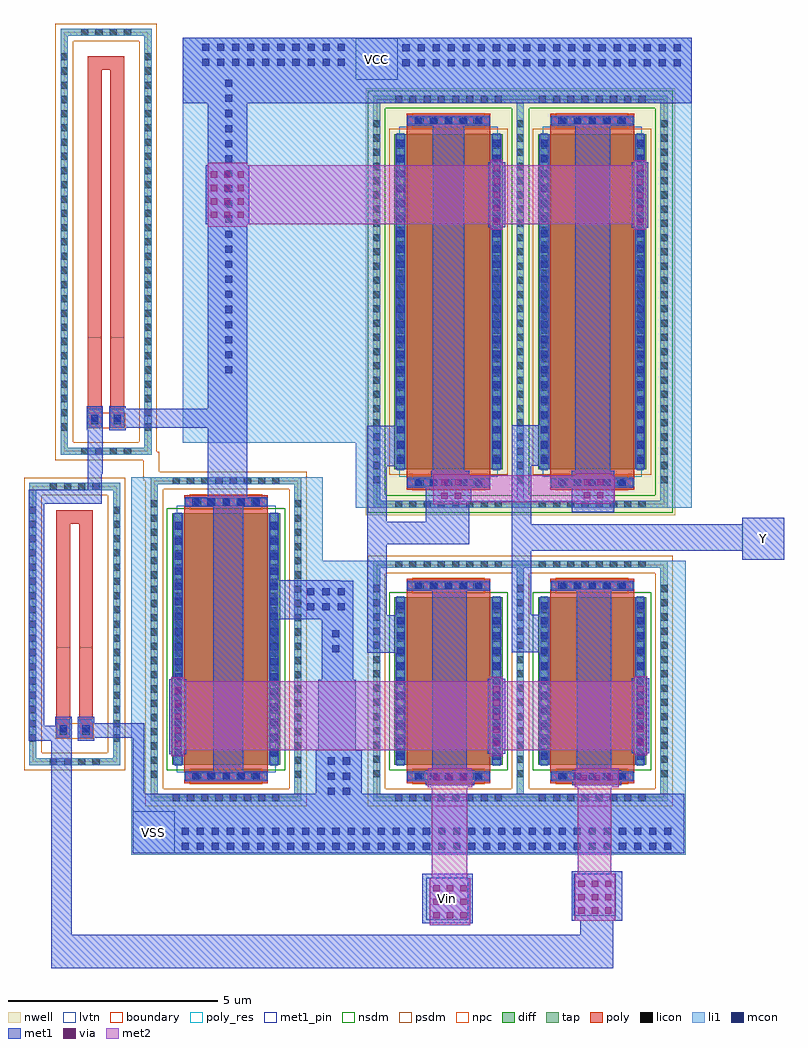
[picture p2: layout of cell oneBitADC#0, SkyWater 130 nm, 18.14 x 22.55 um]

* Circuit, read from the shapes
.subckt oneBitADC#0 VCC VSS Vin Y
XM1 VSS VCC n1 VSS sky130_fd_pr__nfet_01v8_lvt w=6 l=2
XM2 n1 Vin n2 VSS sky130_fd_pr__nfet_01v8 w=4 l=2
XM3 n1 OpAmp5T_0/Vminus Y VSS sky130_fd_pr__nfet_01v8 w=4 l=2
XM4 VCC n2 n2 VCC sky130_fd_pr__pfet_01v8_lvt w=8 l=2
XM5 VCC n2 Y VCC sky130_fd_pr__pfet_01v8_lvt w=8 l=2
R6 OpAmp5T_0/Vminus VSS sky130_fd_pr__res_generic_po w=0.33 l=6.79
R7 OpAmp5T_0/Vminus VCC sky130_fd_pr__res_generic_po w=0.33 l=13.65
.ends

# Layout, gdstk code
import gdstk
lib = gdstk.Library(unit=1e-6, precision=1e-09)
def R(c, l, rs):  # rectangles x0, y0, x1, y1
    for r in rs: c.add(gdstk.rectangle(r[:2], r[2:], *l))
def A(c, l, x, y, w, h, nx, ny, dx, dy):  # array of equal rectangles
    R(c, l, [(x+i*dx, y+j*dy, x+i*dx+w, y+j*dy+h) for i in range(nx) for j in range(ny)])
nwell = (64, 20)
diff = (65, 20)
tap = (65, 44)
poly_res = (66, 13)
poly = (66, 20)
licon = (66, 44)
li1 = (67, 20)
mcon = (67, 44)
met1_pin = (68, 16)
met1 = (68, 20)
via = (68, 44)
met2 = (69, 20)
nsdm = (93, 44)
psdm = (94, 20)
npc = (95, 20)
lvtn = (125, 44)
boundary = (235, 4)

sky130_fd_pr__nfet_01v8_ = lib.new_cell('sky130_fd_pr__nfet_01v8_AHRV9L')
R(sky130_fd_pr__nfet_01v8_, diff, [(-1.29,-2,1.29,2)])
R(sky130_fd_pr__nfet_01v8_, tap, [(-1.8,-2.87,1.8,-2.7), (-1.8,-2.7,-1.63,2.7), (1.63,-2.7,1.8,2.7), (-1.8,2.7,1.8,2.87)])
R(sky130_fd_pr__nfet_01v8_, poly, [(-1,-2.44,1,2.44)])
A(sky130_fd_pr__nfet_01v8_, licon, -1.275, -2.87, 0.17, 0.17, 8, 2, 0.34, 5.57)
A(sky130_fd_pr__nfet_01v8_, licon, -0.765, -2.36, 0.17, 0.17, 5, 2, 0.34, 4.55)
A(sky130_fd_pr__nfet_01v8_, licon, -1.8, -2.295, 0.17, 0.17, 1, 14, 0, 0.34)
A(sky130_fd_pr__nfet_01v8_, licon, 1.63, -2.295, 0.17, 0.17, 1, 14, 0, 0.34)
A(sky130_fd_pr__nfet_01v8_, licon, -1.23, -1.785, 0.17, 0.17, 1, 11, 0, 0.34)
A(sky130_fd_pr__nfet_01v8_, licon, 1.06, -1.785, 0.17, 0.17, 1, 11, 0, 0.34)
R(sky130_fd_pr__nfet_01v8_, li1, [(-1.8,-2.87,1.8,-2.7), (-1.8,-2.7,-1.63,2.7), (1.63,-2.7,1.8,2.7), (-1,-2.36,1,-2.19), (-1.23,-2.02,-1.06,2.02), (1.06,-2.02,1.23,2.02), (-1,2.19,1,2.36), (-1.8,2.7,1.8,2.87)])
A(sky130_fd_pr__nfet_01v8_, mcon, -0.805, -2.36, 0.17, 0.17, 5, 2, 0.36, 4.55)
A(sky130_fd_pr__nfet_01v8_, mcon, -1.23, -1.885, 0.17, 0.17, 1, 11, 0, 0.36)
A(sky130_fd_pr__nfet_01v8_, mcon, 1.06, -1.885, 0.17, 0.17, 1, 11, 0, 0.36)
R(sky130_fd_pr__nfet_01v8_, met1, [(-0.98,-2.39,0.98,-2.16), (-1.26,-2,-1.03,2), (1.03,-2,1.26,2), (-0.98,2.16,0.98,2.39)])
R(sky130_fd_pr__nfet_01v8_, nsdm, [(-1.415,-2.125,1.415,2.125)])
R(sky130_fd_pr__nfet_01v8_, psdm, [(-1.925,-2.995,1.925,-2.575), (-1.925,-2.575,-1.505,2.575), (1.505,-2.575,1.925,2.575), (-1.925,2.575,1.925,2.995)])
R(sky130_fd_pr__nfet_01v8_, npc, [(-0.865,-2.46,0.865,-2.09), (-0.865,2.09,0.865,2.46)])
R(sky130_fd_pr__nfet_01v8_, boundary, [(-1.71,-2.78,1.71,2.78)])

c_sky130_fd_pr__nfet_01v8_ = lib.new_cell('sky130_fd_pr__nfet_01v8_lvt_XVWV9B')
R(c_sky130_fd_pr__nfet_01v8_, diff, [(-1.29,-3,1.29,3)])
R(c_sky130_fd_pr__nfet_01v8_, tap, [(-1.8,-3.87,1.8,-3.7), (-1.8,-3.7,-1.63,3.7), (1.63,-3.7,1.8,3.7), (-1.8,3.7,1.8,3.87)])
R(c_sky130_fd_pr__nfet_01v8_, poly, [(-1,-3.44,1,3.44)])
A(c_sky130_fd_pr__nfet_01v8_, licon, -1.275, -3.87, 0.17, 0.17, 8, 2, 0.34, 7.57)
A(c_sky130_fd_pr__nfet_01v8_, licon, -0.765, -3.36, 0.17, 0.17, 5, 2, 0.34, 6.55)
A(c_sky130_fd_pr__nfet_01v8_, licon, -1.8, -3.315, 0.17, 0.17, 1, 20, 0, 0.34)
A(c_sky130_fd_pr__nfet_01v8_, licon, 1.63, -3.315, 0.17, 0.17, 1, 20, 0, 0.34)
A(c_sky130_fd_pr__nfet_01v8_, licon, -1.23, -2.805, 0.17, 0.17, 1, 17, 0, 0.34)
A(c_sky130_fd_pr__nfet_01v8_, licon, 1.06, -2.805, 0.17, 0.17, 1, 17, 0, 0.34)
R(c_sky130_fd_pr__nfet_01v8_, li1, [(-1.8,-3.87,1.8,-3.7), (-1.8,-3.7,-1.63,3.7), (1.63,-3.7,1.8,3.7), (-1,-3.36,1,-3.19), (-1.23,-3.02,-1.06,3.02), (1.06,-3.02,1.23,3.02), (-1,3.19,1,3.36), (-1.8,3.7,1.8,3.87)])
A(c_sky130_fd_pr__nfet_01v8_, mcon, -0.805, -3.36, 0.17, 0.17, 5, 2, 0.36, 6.55)
A(c_sky130_fd_pr__nfet_01v8_, mcon, -1.23, -2.785, 0.17, 0.17, 1, 16, 0, 0.36)
A(c_sky130_fd_pr__nfet_01v8_, mcon, 1.06, -2.785, 0.17, 0.17, 1, 16, 0, 0.36)
R(c_sky130_fd_pr__nfet_01v8_, met1, [(-0.98,-3.39,0.98,-3.16), (-1.26,-3,-1.03,3), (1.03,-3,1.26,3), (-0.98,3.16,0.98,3.39)])
R(c_sky130_fd_pr__nfet_01v8_, nsdm, [(-1.415,-3.125,1.415,3.125)])
R(c_sky130_fd_pr__nfet_01v8_, psdm, [(-1.925,-3.995,1.925,-3.575), (-1.925,-3.575,-1.505,3.575), (1.505,-3.575,1.925,3.575), (-1.925,3.575,1.925,3.995)])
R(c_sky130_fd_pr__nfet_01v8_, npc, [(-0.865,-3.46,0.865,-3.09), (-0.865,3.09,0.865,3.46)])
R(c_sky130_fd_pr__nfet_01v8_, lvtn, [(-1.18,-3.18,1.18,3.18)])
R(c_sky130_fd_pr__nfet_01v8_, boundary, [(-1.71,-3.78,1.71,3.78)])

sky130_fd_pr__pfet_01v8_ = lib.new_cell('sky130_fd_pr__pfet_01v8_lvt_GWPMZG')
R(sky130_fd_pr__pfet_01v8_, nwell, [(-1.98,-5.095,1.98,5.095)])
R(sky130_fd_pr__pfet_01v8_, diff, [(-1.29,-4,1.29,4)])
R(sky130_fd_pr__pfet_01v8_, tap, [(-1.8,-4.915,1.8,-4.745), (-1.8,-4.745,-1.63,4.745), (1.63,-4.745,1.8,4.745), (-1.8,4.745,1.8,4.915)])
R(sky130_fd_pr__pfet_01v8_, poly, [(-1,-4.485,1,4.485)])
A(sky130_fd_pr__pfet_01v8_, licon, -1.275, -4.915, 0.17, 0.17, 8, 2, 0.34, 9.66)
A(sky130_fd_pr__pfet_01v8_, licon, -0.765, -4.405, 0.17, 0.17, 5, 2, 0.34, 8.64)
A(sky130_fd_pr__pfet_01v8_, licon, -1.8, -4.335, 0.17, 0.17, 1, 26, 0, 0.34)
A(sky130_fd_pr__pfet_01v8_, licon, 1.63, -4.335, 0.17, 0.17, 1, 26, 0, 0.34)
A(sky130_fd_pr__pfet_01v8_, licon, -1.23, -3.825, 0.17, 0.17, 1, 23, 0, 0.34)
A(sky130_fd_pr__pfet_01v8_, licon, 1.06, -3.825, 0.17, 0.17, 1, 23, 0, 0.34)
R(sky130_fd_pr__pfet_01v8_, li1, [(-1.8,-4.915,1.8,-4.745), (-1.8,-4.745,-1.63,4.745), (1.63,-4.745,1.8,4.745), (-1,-4.405,1,-4.235), (-1.23,-4.02,-1.06,4.02), (1.06,-4.02,1.23,4.02), (-1,4.235,1,4.405), (-1.8,4.745,1.8,4.915)])
A(sky130_fd_pr__pfet_01v8_, mcon, -0.805, -4.405, 0.17, 0.17, 5, 2, 0.36, 8.64)
A(sky130_fd_pr__pfet_01v8_, mcon, -1.23, -3.865, 0.17, 0.17, 1, 22, 0, 0.36)
A(sky130_fd_pr__pfet_01v8_, mcon, 1.06, -3.865, 0.17, 0.17, 1, 22, 0, 0.36)
R(sky130_fd_pr__pfet_01v8_, met1, [(-0.98,-4.435,0.98,-4.205), (-1.26,-4,-1.03,4), (1.03,-4,1.26,4), (-0.98,4.205,0.98,4.435)])
R(sky130_fd_pr__pfet_01v8_, nsdm, [(-1.925,-5.04,1.925,-4.62), (-1.925,-4.62,-1.505,4.62), (1.505,-4.62,1.925,4.62), (-1.925,4.62,1.925,5.04)])
R(sky130_fd_pr__pfet_01v8_, psdm, [(-1.415,-4.125,1.415,4.125)])
R(sky130_fd_pr__pfet_01v8_, npc, [(-0.865,-4.505,0.865,-4.135), (-0.865,4.135,0.865,4.505)])
R(sky130_fd_pr__pfet_01v8_, lvtn, [(-1.18,-4.18,1.18,4.18)])
R(sky130_fd_pr__pfet_01v8_, boundary, [(-1.715,-4.83,1.715,4.83)])

opamp5t = lib.new_cell('OpAmp5T')
R(opamp5t, li1, [(1.11,-9.16,14.34,-7.7), (1.11,-7.7,1.74,-0.14), (5,-7.7,7.05,-2.14), (13.74,-7.7,14.34,-2.14), (5,-2.14,5.68,-0.14), (6.47,-0.87,7.05,0.68), (13.74,-0.87,14.49,8.79), (2.34,0.68,7.05,8.79), (2.34,8.79,14.49,10.35)])
A(opamp5t, mcon, 2.31, -9.04, 0.17, 0.17, 33, 2, 0.36, 0.36)
A(opamp5t, mcon, 5.8, -7.725, 0.17, 0.17, 1, 3, 0, 0.36)
A(opamp5t, mcon, 6.16, -7.725, 0.17, 0.17, 1, 3, 0, 0.36)
A(opamp5t, mcon, 5.31, -3.325, 0.17, 0.17, 3, 2, 0.36, 0.36)
A(opamp5t, mcon, 3.35, 2.335, 0.17, 0.17, 1, 20, 0, 0.36)
A(opamp5t, mcon, 7.58, 9.665, 0.17, 0.17, 19, 2, 0.36, 0.36)
A(opamp5t, mcon, 2.795, 9.675, 0.17, 0.17, 10, 2, 0.36, 0.36)
R(opamp5t, mcon, [(5.9,-4.325,6.07,-4.155), (5.9,-3.965,6.07,-3.795)])
R(opamp5t, met1_pin, [(8.15,-10.71,9.15,-9.71), (11.67,-10.61,12.67,-9.61), (1.14,-9.12,2.14,-8.12), (15.69,-2.11,16.69,-1.11), (6.47,9.34,7.47,10.34)])
R(opamp5t, met1, [(8.05,-10.79,9.26,-9.61), (11.62,-10.73,12.83,-9.55), (1.14,-9.12,14.31,-7.7), (5.51,-7.7,6.61,-6.66), (8.14,-7.5,9.3,-7.14), (11.64,-7.5,12.8,-7.14), (3.06,-7.37,3.78,-0.82), (8.29,-7.14,9.12,-2.65), (11.74,-7.14,12.57,-2.65), (2.01,-6.76,2.42,-4.97), (9.62,-6.75,10.03,-4.96), (13.06,-6.73,13.47,-4.94), (5.57,-6.66,6.46,-4.98), (5.65,-4.98,6.4,-3.53), (6.74,-4.33,7.62,-3.44), (10.19,-4.32,11.07,-3.43), (4.43,-3.53,6.4,-2.61), (6.74,-3.44,7.21,-1.74), (10.19,-3.43,10.66,-1.9), (4.43,-2.61,6.08,-2.6), (15.69,-2.11,16.69,-1.9), (10.19,-1.9,16.69,-1.27), (6.74,-1.74,9.17,-1.21), (10.19,-1.27,10.66,0.13), (15.69,-1.27,16.69,-1.11), (6.74,-1.21,7.21,0.12), (8.14,-1.21,9.17,-0.74), (11.62,-0.98,12.64,0.01), (2.93,-0.82,3.87,5.89), (8.14,-0.74,9.22,-0.19), (8.27,-0.19,9.22,-0.11), (8.27,-0.11,9.17,0.01), (8.3,0.01,9.06,8.45), (11.71,0.01,12.54,8.45), (6.74,0.12,7.6,1.09), (10.19,0.13,11.05,1.1), (13.05,5.81,13.45,7.37), (9.63,5.82,10.03,7.38), (2.88,5.89,3.92,7.31), (2.93,7.31,3.87,8.79), (2.34,8.79,14.49,10.35)])
A(opamp5t, via, 8.32, -10.675, 0.15, 0.15, 3, 3, 0.32, 0.32)
A(opamp5t, via, 11.78, -10.565, 0.15, 0.15, 3, 3, 0.32, 0.32)
A(opamp5t, via, 8.325, -7.395, 0.15, 0.15, 3, 1, 0.32, 0)
A(opamp5t, via, 11.825, -7.395, 0.15, 0.15, 3, 1, 0.32, 0)
A(opamp5t, via, 2.14, -6.58, 0.15, 0.15, 1, 5, 0, 0.32)
A(opamp5t, via, 9.75, -6.57, 0.15, 0.15, 1, 5, 0, 0.32)
A(opamp5t, via, 13.19, -6.55, 0.15, 0.15, 1, 5, 0, 0.32)
A(opamp5t, via, 13.175, 5.875, 0.15, 0.15, 1, 5, 0, 0.32)
A(opamp5t, via, 9.755, 5.885, 0.15, 0.15, 1, 5, 0, 0.32)
A(opamp5t, via, 3.005, 6.045, 0.15, 0.15, 3, 4, 0.32, 0.32)
R(opamp5t, via, [(8.51,-0.66,8.66,-0.51), (8.83,-0.66,8.98,-0.51), (11.91,-0.65,12.06,-0.5), (12.23,-0.65,12.38,-0.5), (8.51,-0.34,8.66,-0.19), (8.83,-0.34,8.98,-0.19), (11.91,-0.33,12.06,-0.18), (12.23,-0.33,12.38,-0.18)])
R(opamp5t, met2, [(8.23,-10.84,9.2,-9.72), (11.69,-10.73,12.66,-9.61), (8.28,-9.72,9.13,-7.55), (11.76,-9.61,12.56,-7.55), (8.19,-7.55,9.25,-7.09), (11.69,-7.55,12.75,-7.09), (2.06,-6.81,2.37,-6.66), (9.67,-6.8,9.98,-6.66), (13.11,-6.78,13.42,-6.66), (2.06,-6.66,13.42,-5.02), (2.06,-5.02,2.37,-4.92), (9.67,-5.02,9.98,-4.91), (13.11,-5.02,13.42,-4.89), (8.32,-0.79,9.17,-0.74), (11.72,-0.78,12.57,-0.74), (8.32,-0.74,12.65,-0.1), (8.32,-0.1,9.17,-0.06), (11.72,-0.1,12.57,-0.05), (13.1,5.76,13.4,5.89), (9.68,5.77,9.98,5.89), (2.93,5.84,3.87,5.89), (2.93,5.89,13.4,7.31), (2.93,7.31,3.87,7.36), (9.68,7.31,9.98,7.43), (13.1,7.31,13.4,7.42)])
opamp5t.add(gdstk.Reference(sky130_fd_pr__nfet_01v8_, (8.68,-5.01)))
opamp5t.add(gdstk.Reference(c_sky130_fd_pr__nfet_01v8_, (3.37,-4.01)))
opamp5t.add(gdstk.Reference(sky130_fd_pr__nfet_01v8_, (12.11,-5.01)))
opamp5t.add(gdstk.Reference(sky130_fd_pr__pfet_01v8_, (12.11,4.045)))
opamp5t.add(gdstk.Reference(sky130_fd_pr__pfet_01v8_, (8.68,4.045)))
opamp5t.add(gdstk.Label('VCC', (6.97,9.84), layer=68, texttype=5))
opamp5t.add(gdstk.Label('VSS', (1.64,-8.62), layer=68, texttype=5))
opamp5t.add(gdstk.Label('Vplus', (8.65,-10.21), layer=68, texttype=5))
opamp5t.add(gdstk.Label('Vminus', (12.17,-10.11), layer=68, texttype=5))
opamp5t.add(gdstk.Label('Vout', (16.19,-1.61), layer=68, texttype=5))

sky130_fd_pr__res_generi = lib.new_cell('sky130_fd_pr__res_generic_po_R2PSDC')
R(sky130_fd_pr__res_generi, tap, [(-1.085,-5.085,1.085,-4.915), (-1.085,-4.915,-0.915,4.915), (0.915,-4.915,1.085,4.915), (-1.085,4.915,1.085,5.085)])
R(sky130_fd_pr__res_generi, poly_res, [(-0.435,-2.285,-0.105,4.105), (0.105,-2.285,0.435,4.105), (-0.435,4.105,0.435,4.435)])
R(sky130_fd_pr__res_generi, poly, [(-0.435,-4.435,-0.105,4.105), (0.105,-4.435,0.435,4.105), (-0.435,4.105,0.435,4.435)])
A(sky130_fd_pr__res_generi, licon, -0.595, -5.085, 0.17, 0.17, 4, 2, 0.34, 10)
A(sky130_fd_pr__res_generi, licon, -1.085, -4.505, 0.17, 0.17, 1, 27, 0, 0.34)
A(sky130_fd_pr__res_generi, licon, 0.915, -4.505, 0.17, 0.17, 1, 27, 0, 0.34)
R(sky130_fd_pr__res_generi, licon, [(-0.355,-4.355,-0.185,-4.185), (0.185,-4.355,0.355,-4.185)])
R(sky130_fd_pr__res_generi, li1, [(-1.085,-5.085,1.085,-4.915), (-1.085,-4.915,-0.915,4.915), (0.915,-4.915,1.085,4.915), (-0.435,-4.355,-0.105,-4.185), (0.105,-4.355,0.435,-4.185), (-1.085,4.915,1.085,5.085)])
R(sky130_fd_pr__res_generi, psdm, [(-1.21,-5.21,1.21,-4.79), (-1.21,-4.79,-0.79,4.79), (0.79,-4.79,1.21,4.79), (-1.21,4.79,1.21,5.21)])
R(sky130_fd_pr__res_generi, npc, [(-0.455,-4.455,0.455,-4.085)])
R(sky130_fd_pr__res_generi, boundary, [(-1,-5,1,5)])

c_sky130_fd_pr__res_generi = lib.new_cell('sky130_fd_pr__res_generic_po_LSFYMF')
R(c_sky130_fd_pr__res_generi, tap, [(-1.085,-3.37,1.085,-3.2), (-1.085,-3.2,-0.915,3.2), (0.915,-3.2,1.085,3.2), (-1.085,3.2,1.085,3.37)])
R(c_sky130_fd_pr__res_generi, poly_res, [(-0.435,-0.57,-0.105,2.39), (0.105,-0.57,0.435,2.39), (-0.435,2.39,0.435,2.72)])
R(c_sky130_fd_pr__res_generi, poly, [(-0.435,-2.72,-0.105,2.39), (0.105,-2.72,0.435,2.39), (-0.435,2.39,0.435,2.72)])
A(c_sky130_fd_pr__res_generi, licon, -0.595, -3.37, 0.17, 0.17, 4, 2, 0.34, 6.57)
A(c_sky130_fd_pr__res_generi, licon, -1.085, -2.805, 0.17, 0.17, 1, 17, 0, 0.34)
A(c_sky130_fd_pr__res_generi, licon, 0.915, -2.805, 0.17, 0.17, 1, 17, 0, 0.34)
R(c_sky130_fd_pr__res_generi, licon, [(-0.355,-2.64,-0.185,-2.47), (0.185,-2.64,0.355,-2.47)])
R(c_sky130_fd_pr__res_generi, li1, [(-1.085,-3.37,1.085,-3.2), (-1.085,-3.2,-0.915,3.2), (0.915,-3.2,1.085,3.2), (-0.435,-2.64,-0.105,-2.47), (0.105,-2.64,0.435,-2.47), (-1.085,3.2,1.085,3.37)])
R(c_sky130_fd_pr__res_generi, psdm, [(-1.21,-3.495,1.21,-3.075), (-1.21,-3.075,-0.79,3.075), (0.79,-3.075,1.21,3.075), (-1.21,3.075,1.21,3.495)])
R(c_sky130_fd_pr__res_generi, npc, [(-0.455,-2.74,0.455,-2.37)])
R(c_sky130_fd_pr__res_generi, boundary, [(-1,-3.285,1,3.285)])

onebitadc_0 = lib.new_cell('oneBitADC#0')
R(onebitadc_0, li1, [(4.11,6.94,4.44,7.39), (4.65,6.94,4.98,7.39), (4.86,14.35,5.19,14.8), (5.4,14.35,5.73,14.8)])
R(onebitadc_0, mcon, [(4.19,7.08,4.36,7.25), (4.73,7.08,4.9,7.25), (4.94,14.49,5.11,14.66), (5.48,14.49,5.65,14.66)])
R(onebitadc_0, met1_pin, [(12.94,2.6,13.94,3.6), (5.93,4.19,6.93,5.19), (20.48,11.2,21.48,12.2), (11.26,22.65,12.26,23.65)])
R(onebitadc_0, met1, [(3.99,1.44,17.4,2.24), (3.99,2.24,4.48,6.88), (16.61,2.24,17.4,3.09), (12.94,2.6,13.94,3.6), (5.93,4.19,6.93,5.19), (5.93,5.3,6.21,6.95), (3.45,6.88,4.48,6.89), (4.62,6.88,5.01,6.95), (3.45,6.89,4.47,7.23), (4.62,6.95,6.21,7.29), (3.45,7.23,3.82,12.53), (4.08,7.23,4.47,7.45), (4.62,7.29,5.01,7.45), (20.48,11.2,21.48,12.2), (3.45,12.53,5.19,12.87), (4.86,12.87,5.19,13.25), (4.86,13.25,5.22,14.29), (4.83,14.29,5.22,14.86), (5.37,14.29,5.76,14.35), (5.37,14.35,8.14,14.8), (5.37,14.8,5.76,14.86), (11.26,22.65,12.26,23.65)])
R(onebitadc_0, psdm, [(6.18,13.095,6.235,13.295), (6.18,13.295,6.56,13.575), (6.505,13.575,6.56,13.775)])
onebitadc_0.add(gdstk.Reference(opamp5t, (4.79,13.31)))
onebitadc_0.add(gdstk.Reference(sky130_fd_pr__res_generi, (5.295,18.785)))
onebitadc_0.add(gdstk.Reference(c_sky130_fd_pr__res_generi, (4.545,9.66)))
onebitadc_0.add(gdstk.Label('VCC', (11.76,23.15), layer=68, texttype=5))
onebitadc_0.add(gdstk.Label('VSS', (6.43,4.69), layer=68, texttype=5))
onebitadc_0.add(gdstk.Label('Vin', (13.44,3.1), layer=68, texttype=5))
onebitadc_0.add(gdstk.Label('Y', (20.98,11.7), layer=68, texttype=5))

lib.write_gds('oneBitADC_0.gds')
